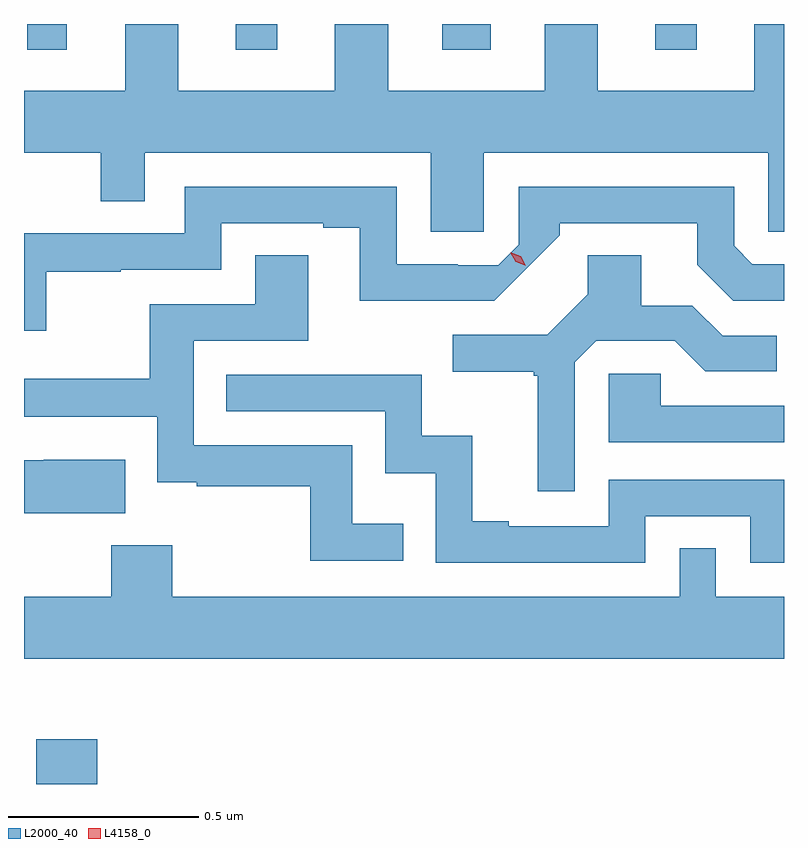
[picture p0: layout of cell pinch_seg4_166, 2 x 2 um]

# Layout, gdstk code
import gdstk
lib = gdstk.Library(unit=1e-6, precision=1e-09)
def R(c, l, rs):  # rectangles x0, y0, x1, y1
    for r in rs: c.add(gdstk.rectangle(r[:2], r[2:], *l))
def P(c, l, *ps):  # polygons
    for p in ps: c.add(gdstk.Polygon(p, *l))
L2000_40 = (2000, 40)
L4158_0 = (4158, 0)

pinch_seg4_166 = lib.new_cell('pinch_seg4_166')
R(pinch_seg4_166, L2000_40, [(1120.373,792.495,1120.534,792.613), (1120.349,794.427,1120.453,794.495), (1120.898,794.427,1121.008,794.495), (1121.441,794.427,1121.569,794.495), (1122.002,794.427,1122.112,794.495)])
P(pinch_seg4_166, L2000_40, [(1121.551,794.156),(1122.3,794.156),(1122.3,793.948),(1122.341,793.948),(1122.341,794.495),(1122.263,794.495),(1122.263,794.32),(1121.851,794.32),(1121.851,794.495),(1121.711,794.495),(1121.711,794.32),(1121.299,794.32),(1121.299,794.495),(1121.159,794.495),(1121.159,794.32),(1120.747,794.32),(1120.747,794.495),(1120.607,794.495),(1120.607,794.32),(1120.341,794.32),(1120.341,794.156),(1120.543,794.156),(1120.543,794.029),(1120.659,794.029),(1120.659,794.156),(1121.411,794.156),(1121.411,793.948),(1121.551,793.948)],
  [(1120.399,793.843),(1120.595,793.843),(1120.595,793.848),(1120.86,793.848),(1120.86,793.971),(1121.129,793.971),(1121.129,793.959),(1121.225,793.959),(1121.225,793.767),(1121.579,793.767),(1121.751,793.939),(1121.751,793.971),(1122.113,793.971),(1122.113,793.861),(1122.207,793.767),(1122.341,793.767),(1122.341,793.863),(1122.258,793.863),(1122.21,793.911),(1122.21,794.067),(1121.643,794.067),(1121.643,793.914),(1121.589,793.86),(1121.482,793.86),(1121.482,793.863),(1121.322,793.863),(1121.322,794.067),(1120.764,794.067),(1120.764,793.944),(1120.341,793.944),(1120.341,793.688),(1120.399,793.688)],
  [(1121.339,793.18),(1121.205,793.18),(1121.205,793.386),(1120.788,793.386),(1120.788,793.662),(1121.089,793.662),(1121.089,793.886),(1120.949,793.886),(1120.949,793.758),(1120.672,793.758),(1120.672,793.562),(1120.341,793.562),(1120.341,793.461),(1120.692,793.461),(1120.692,793.289),(1120.795,793.289),(1120.795,793.278),(1121.094,793.278),(1121.094,793.083),(1121.339,793.083)],
  [(1121.79,793.605),(1121.847,793.662),(1122.053,793.662),(1122.134,793.581),(1122.322,793.581),(1122.322,793.674),(1122.18,793.674),(1122.1,793.754),(1121.965,793.754),(1121.965,793.886),(1121.825,793.886),(1121.825,793.784),(1121.718,793.677),(1121.469,793.677),(1121.469,793.58),(1121.682,793.58),(1121.682,793.569),(1121.693,793.569),(1121.693,793.266),(1121.79,793.266)],
  [(1122.341,793.491),(1122.017,793.491),(1122.017,793.575),(1121.88,793.575),(1121.88,793.395),(1122.341,793.395)],
  [(1121.976,793.2),(1122.252,793.2),(1122.252,793.077),(1122.341,793.077),(1122.341,793.296),(1121.88,793.296),(1121.88,793.173),(1121.617,793.173),(1121.617,793.186),(1121.521,793.186),(1121.521,793.411),(1121.388,793.411),(1121.388,793.572),(1120.873,793.572),(1120.873,793.476),(1121.292,793.476),(1121.292,793.313),(1121.424,793.313),(1121.424,793.077),(1121.976,793.077)],
  [(1120.607,793.348),(1120.393,793.348),(1120.393,793.347),(1120.341,793.347),(1120.341,793.208),(1120.607,793.208)],
  [(1122.341,792.988),(1122.162,792.988),(1122.162,793.115),(1122.066,793.115),(1122.066,792.988),(1120.731,792.988),(1120.731,793.123),(1120.571,793.123),(1120.571,792.988),(1120.341,792.988),(1120.341,792.824),(1122.341,792.824)])
P(pinch_seg4_166, L4158_0, [(1121.662,793.859),(1121.635,793.869),(1121.621,793.894),(1121.621,793.895),(1121.621,793.895),(1121.648,793.884),(1121.662,793.859),(1121.662,793.859)])

lib.write_gds('pinch_seg4_166.gds')
